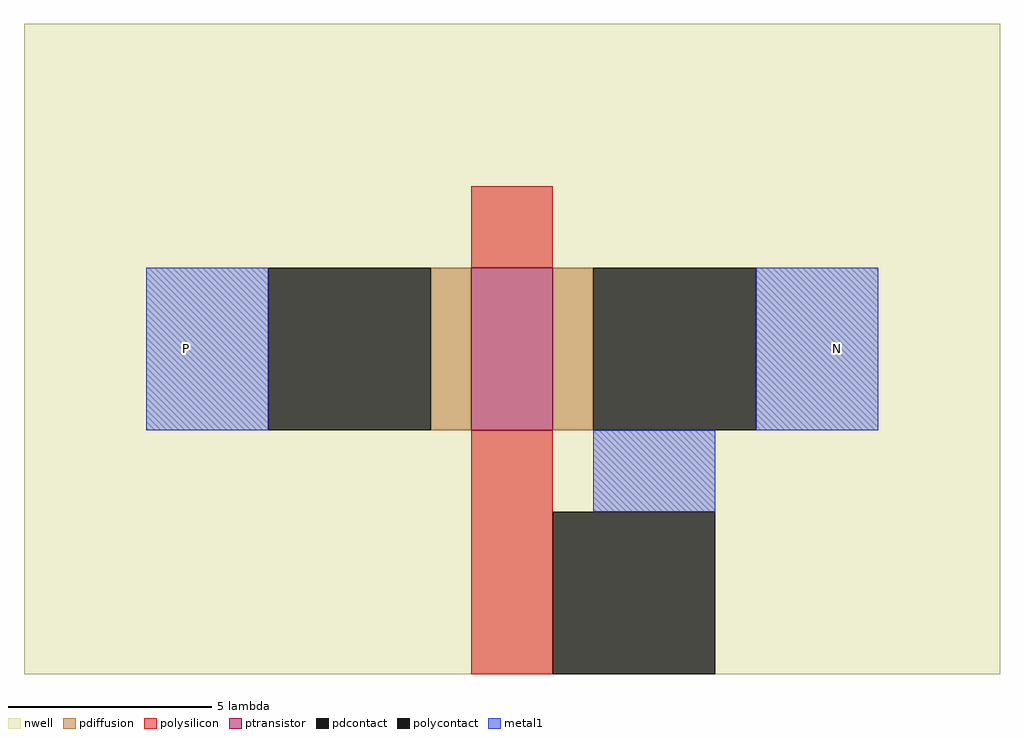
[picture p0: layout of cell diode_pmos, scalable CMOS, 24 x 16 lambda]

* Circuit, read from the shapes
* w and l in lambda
.subckt diode_pmos N P
M1 N N P n1 pfet w=4 l=2
.ends

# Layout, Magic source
magic
tech scmos
<< nwell >>
rect 0 0 24 16
<< ptransistor >>
rect 11 6 13 10
<< pdiffusion >>
rect 10 6 11 10
rect 13 6 14 10
<< pdcontact >>
rect 6 6 10 10
rect 14 6 18 10
<< polysilicon >>
rect 11 10 13 12
rect 11 0 13 6
<< polycontact >>
rect 13 0 17 4
<< metal1 >>
rect 3 6 6 10
rect 18 6 21 10
rect 14 4 17 6
<< labels >>
rlabel metal1 4 8 4 8 1 P
rlabel metal1 20 8 20 8 1 N
<< end >>
